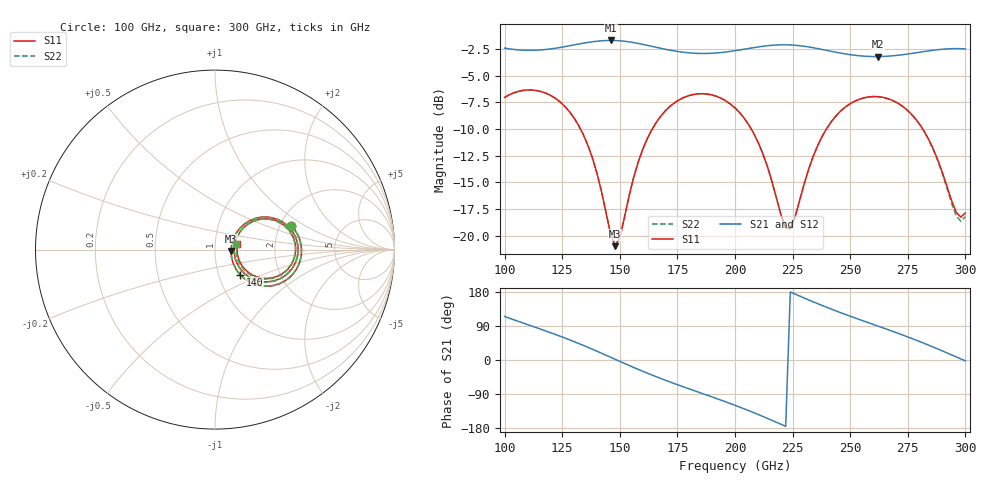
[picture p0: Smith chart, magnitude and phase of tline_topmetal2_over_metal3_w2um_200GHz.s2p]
#  GHZ S DB R 50
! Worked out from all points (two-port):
!   101 points, 100 GHz to 300 GHz, reference 50 ohm
!   highest |S21| = -1.69 dB at 146 GHz (marker M1); lowest = -3.2 dB at 262 GHz (marker M2)
!   |S21| within 3 dB of the highest: start of sweep to end of sweep
!   lowest |S11| = -21.0 dB at 148 GHz (marker M3), VSWR 1.20, Z = 59.8 - j0.831 ohm
!   |S11| at or under -10 dB: 132.9 GHz to 164.1 GHz (31.14 GHz wide, 21 % of centre); 207 GHz to 239.7 GHz (32.62 GHz wide, 14.6 % of centre); 281.5 GHz to end of sweep
!   |S22| runs from -20.9 to -6.3 dB; largest |S21 - S12| = 1.3e-13
!   S11 on the Smith chart (normalised r, x): 100 GHz: 2.30, +0.76; 140 GHz: 1.26, -0.37; 300 GHz: 1.28, +0.08
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100  -7.03 17.4  -2.41 114.8  -2.41 114.8  -7.03 17.4
110  -6.34 -0.1  -2.61 93.4  -2.61 93.4  -6.34 -0.1
118  -6.65 -14.1  -2.53 76.3  -2.53 76.3  -6.65 -14.1
134  -10.45 -40.7  -1.95 39.0  -1.95 39.0  -10.44 -40.7
140  -14.09 -45.1  -1.76 23.4  -1.76 23.4  -14.08 -45.0
146  -19.86 -25.2  -1.69 7.3  -1.69 7.3  -19.80 -25.0
148  -20.99 -4.4  -1.70 1.8  -1.70 1.8  -20.90 -4.4
150  -20.23 17.5  -1.72 -3.6  -1.72 -3.6  -20.16 17.2
158  -13.09 41.0  -1.97 -24.7  -1.97 -24.7  -13.07 40.7
168  -8.73 29.0  -2.44 -49.3  -2.44 -49.3  -8.73 28.8
184  -6.70 2.5  -2.91 -84.5  -2.91 -84.5  -6.70 2.2
200  -8.02 -24.0  -2.65 -119.6  -2.65 -119.6  -8.02 -24.3
210  -11.23 -37.5  -2.30 -143.7  -2.30 -143.7  -11.23 -37.8
222  -19.24 -10.3  -2.10 -175.1  -2.10 -175.1  -19.28 -10.7
226  -18.28 21.7  -2.14 174.2  -2.14 174.2  -18.32 21.5
234  -12.53 37.7  -2.38 153.4  -2.38 153.4  -12.54 37.5
246  -8.28 23.8  -2.88 124.6  -2.88 124.6  -8.29 23.5
262  -6.96 -1.5  -3.20 89.6  -3.20 89.6  -6.97 -2.0
268  -7.28 -11.1  -3.14 76.6  -3.14 76.6  -7.29 -11.6
284  -10.94 -32.9  -2.67 39.2  -2.67 39.2  -10.99 -33.9
296  -17.80 -13.5  -2.46 8.2  -2.46 8.2  -18.13 -14.6
300  -17.87 13.2  -2.48 -2.3  -2.48 -2.3  -18.22 13.6
